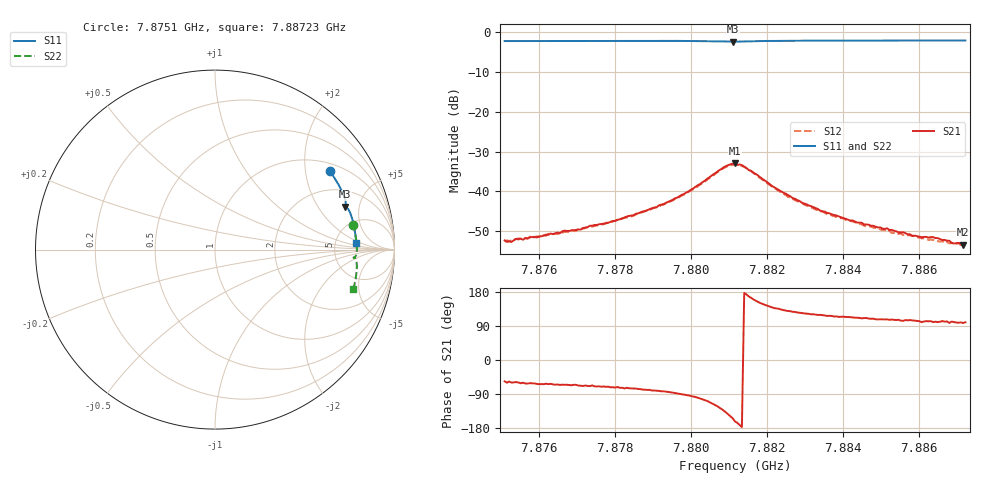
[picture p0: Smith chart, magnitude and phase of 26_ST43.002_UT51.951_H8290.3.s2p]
#  HZ  S  DB  R  50.00
! Rohde & Schwarz Vector Network Analyzer
! Rohde-Schwarz,ZNB20-2Port,1311601062101988,3.16
! Created: UTC 1/12/2023, 6:31:01 PM
! freq[Hz]  db:S11  ang:S11  db:S21  ang:S21  db:S12  ang:S12  db:S22  ang:S22
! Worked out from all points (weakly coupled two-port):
!   201 points, 7.8751 GHz to 7.88723 GHz, reference 50 ohm
!   highest |S21| = -32.92 dB at 7.88116 GHz (marker M1); lowest = -53.4 dB at 7.88717 GHz (marker M2)
!   lowest |S11| = -2.4 dB at 7.8811 GHz (marker M3), VSWR 7.39, Z = 157 + j179 ohm
!   |S11| at or under -10 dB: nowhere
!   |S22| runs from -2.2 to -1.9 dB; largest |S21 - S12| = 0.0016
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7.875099e9  -2.23 34.3  -52.30 -56.3  -52.57 -63.1  -2.13 10.3
7.875281e9  -2.22 33.8  -52.69 -59.7  -52.32 -62.5  -2.13 9.9
7.875402e9  -2.22 33.4  -51.96 -58.3  -51.91 -63.2  -2.13 9.6
7.875584e9  -2.21 32.9  -52.15 -59.8  -52.00 -64.4  -2.12 9.2
7.876554e9  -2.20 30.3  -50.50 -65.7  -50.71 -68.8  -2.10 6.9
7.877161e9  -2.19 28.7  -49.20 -68.7  -49.31 -70.6  -2.07 5.5
7.87801e9  -2.18 26.3  -47.41 -72.8  -47.33 -75.9  -2.06 3.5
7.879163e9  -2.18 23.1  -43.48 -81.5  -43.78 -85.4  -2.05 0.8
7.87983e9  -2.19 21.2  -40.59 -91.3  -40.74 -94.7  -2.05 -0.9
7.8808e9  -2.31 18.6  -34.40 -128.7  -34.51 -131.8  -2.17 -3.2
7.881103e9  -2.36 18.3  -33.05 -153.9  -33.29 -157.8  -2.23 -3.3
7.881164e9  -2.36 18.3  -32.92 -162.0  -33.22 -163.5  -2.24 -3.3
7.881407e9  -2.33 18.2  -33.75 176.9  -33.84 174.2  -2.21 -3.2
7.882559e9  -2.15 15.2  -40.91 129.3  -41.36 125.7  -2.01 -5.6
7.883226e9  -2.13 13.4  -43.95 120.7  -44.28 116.2  -1.97 -7.2
7.884621e9  -2.10 9.6  -48.29 110.9  -48.82 107.4  -1.95 -10.4
7.885228e9  -2.09 8.0  -49.70 106.0  -49.87 103.4  -1.94 -11.8
7.885289e9  -2.09 7.8  -49.65 106.7  -50.45 103.6  -1.93 -11.9
7.885834e9  -2.08 6.4  -51.22 104.5  -51.07 100.5  -1.93 -13.1
7.88638e9  -2.08 4.9  -51.49 100.0  -52.19 98.8  -1.92 -14.3
7.887169e9  -2.07 2.9  -53.35 97.6  -53.43 94.4  -1.92 -15.9
7.887229e9  -2.08 2.7  -52.99 99.5  -53.75 94.8  -1.92 -16.1
